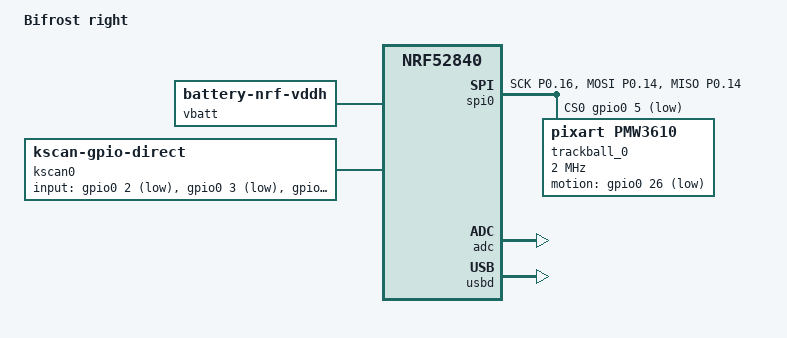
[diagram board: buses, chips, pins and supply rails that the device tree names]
/*
 * Copyright (c) 2026 hringdrifi
 * SPDX-License-Identifier: MIT
 */

/dts-v1/;
#include <nordic/nrf52840_qiaa.dtsi>
#include <common/nordic/nrf52840_uf2_boot_mode.dtsi>
#include "../bifrost.dtsi"

/ {
    model = "Bifrost right";
    compatible = "hringbord,bifrost_right";

    chosen {
        zephyr,sram = &sram0;
        zephyr,flash = &flash0;
        zephyr,code-partition = &code_partition;
        zmk,kscan = &kscan0;
        zmk,physical-layout = &bifrost_physical_layout;
        zmk,battery = &vbatt;
    };

    vbatt: battery {
        compatible = "zmk,battery-nrf-vddh";
    };

    kscan0: kscan {
        compatible = "zmk,kscan-gpio-direct";
        wakeup-source;

        input-gpios
            = <&gpio0 2 (GPIO_ACTIVE_LOW | GPIO_PULL_UP)> /*  0: Y    (P0.02) */
            , <&gpio0 3 (GPIO_ACTIVE_LOW | GPIO_PULL_UP)> /*  1: U    (P0.03) */
            , <&gpio1 12 (GPIO_ACTIVE_LOW | GPIO_PULL_UP)> /*  2: I    (P1.12) */
            , <&gpio1 4 (GPIO_ACTIVE_LOW | GPIO_PULL_UP)> /*  3: O    (P1.04) */
            , <&gpio1 6 (GPIO_ACTIVE_LOW | GPIO_PULL_UP)> /*  4: P    (P1.06) */
            , <&gpio1 7 (GPIO_ACTIVE_LOW | GPIO_PULL_UP)> /*  5: QUOT (P1.07) */
            , <&gpio1 0 (GPIO_ACTIVE_LOW | GPIO_PULL_UP)> /*  6: BSLS (P1.00) */
            , <&gpio1 1 (GPIO_ACTIVE_LOW | GPIO_PULL_UP)> /*  7: H    (P1.01) */
            , <&gpio0 19 (GPIO_ACTIVE_LOW | GPIO_PULL_UP)> /*  8: J    (P0.19) */
            , <&gpio0 21 (GPIO_ACTIVE_LOW | GPIO_PULL_UP)> /*  9: K    (P0.21) */
            , <&gpio1 3 (GPIO_ACTIVE_LOW | GPIO_PULL_UP)> /* 10: L    (P1.03) */
            , <&gpio1 5 (GPIO_ACTIVE_LOW | GPIO_PULL_UP)> /* 11: SCLN (P1.05) */
            , <&gpio0 23 (GPIO_ACTIVE_LOW | GPIO_PULL_UP)> /* 12: ENT  (P0.23) */
            , <&gpio1 10 (GPIO_ACTIVE_LOW | GPIO_PULL_UP)> /* 13: N    (P1.10) */
            , <&gpio0 24 (GPIO_ACTIVE_LOW | GPIO_PULL_UP)> /* 14: M    (P0.24) */
            , <&gpio0 22 (GPIO_ACTIVE_LOW | GPIO_PULL_UP)> /* 15: COMM (P0.22) */
            , <&gpio0 20 (GPIO_ACTIVE_LOW | GPIO_PULL_UP)> /* 16: DOT  (P0.20) */
            , <&gpio0 17 (GPIO_ACTIVE_LOW | GPIO_PULL_UP)> /* 17: SLSH (P0.17) */
            , <&gpio0 15 (GPIO_ACTIVE_LOW | GPIO_PULL_UP)> /* 18: UP   (P0.15) */
            , <&gpio0 13 (GPIO_ACTIVE_LOW | GPIO_PULL_UP)> /* 19: RSFT (P0.13) */
            , <&gpio0 30 (GPIO_ACTIVE_LOW | GPIO_PULL_UP)> /* 20: ESC  (P0.30) */
            , <&gpio0 28 (GPIO_ACTIVE_LOW | GPIO_PULL_UP)> /* 21: SPC  (P0.28) */
            , <&gpio1 11 (GPIO_ACTIVE_LOW | GPIO_PULL_UP)> /* 22: LEFT (P1.11) */
            , <&gpio1 2 (GPIO_ACTIVE_LOW | GPIO_PULL_UP)> /* 23: DOWN (P1.02) */
            , <&gpio0 25 (GPIO_ACTIVE_LOW | GPIO_PULL_UP)> /* 24: RGHT (P0.25) */
            ;
    };


};
/ {
    split_inputs {
        #address-cells = <1>;
        #size-cells = <0>;

        trackball_split_0: trackball_split_0@0 {
            compatible = "zmk,input-split";
            reg = <0>;
        };
    };

    trackball_listener_0: trackball_listener_0 {
        compatible = "zmk,input-listener";
        status = "disabled";
        device = <&trackball_split_0>;
    };
};
#include <zephyr/dt-bindings/input/input-event-codes.h>

&pinctrl {
    smidr_pmw3610_spi0_default: smidr_pmw3610_spi0_default {
        group1 {
            psels = <NRF_PSEL(SPIM_SCK, 0, 16)>, <NRF_PSEL(SPIM_MOSI, 0, 14)>, <NRF_PSEL(SPIM_MISO, 0, 14)>;
        };
    };
};

&spi0 {
    status = "okay";
    pinctrl-0 = <&smidr_pmw3610_spi0_default>;
    pinctrl-names = "default";
    cs-gpios = <&gpio0 5 GPIO_ACTIVE_LOW /* Trackball 0 CS: P0.05 */>;
    trackball_0: pmw3610@0 {
        compatible = "pixart,pmw3610";
        reg = <0>;
        spi-max-frequency = <2000000>;
        spi-cpol;
        spi-cpha;
        motion-gpios = <&gpio0 26 (GPIO_ACTIVE_LOW | GPIO_PULL_UP) /* Trackball 0 MOTION: P0.26 */>;
        zephyr,axis-x = <INPUT_REL_X>;
        zephyr,axis-y = <INPUT_REL_Y>;
        res-cpi = <1200>;
    };
};

&trackball_split_0 {
    device = <&trackball_0>;
};



&default_transform {
    col-offset = <24>;
};


&adc {
    status = "okay";
};



&gpio0 {
    status = "okay";
};

&gpio1 {
    status = "okay";
};

&gpiote {
    status = "okay";
};

zephyr_udc0: &usbd {
    status = "okay";
};

&flash0 {
    partitions {
        compatible = "fixed-partitions";
        #address-cells = <1>;
        #size-cells = <1>;

        code_partition: partition@26000 {
            label = "code_partition";
            reg = <0x00026000 0x000d2000>;
        };

        storage_partition: partition@f8000 {
            label = "storage";
            reg = <0x000f8000 0x00008000>;
        };
    };
};
